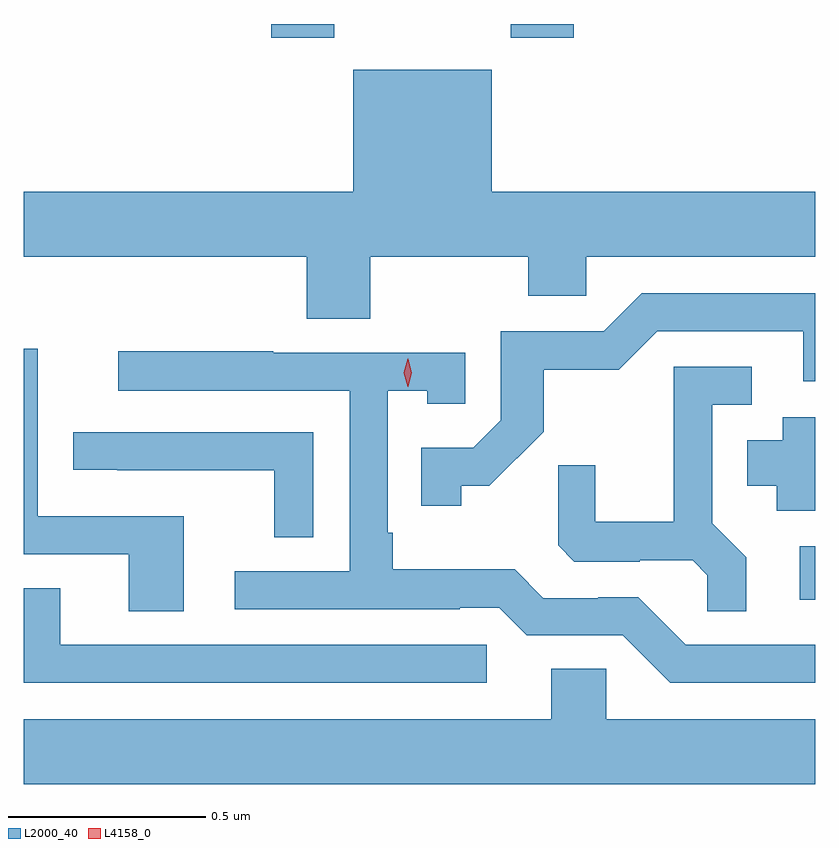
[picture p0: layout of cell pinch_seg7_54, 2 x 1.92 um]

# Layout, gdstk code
import gdstk
lib = gdstk.Library(unit=1e-6, precision=1e-09)
def R(c, l, rs):  # rectangles x0, y0, x1, y1
    for r in rs: c.add(gdstk.rectangle(r[:2], r[2:], *l))
def P(c, l, *ps):  # polygons
    for p in ps: c.add(gdstk.Polygon(p, *l))
L2000_40 = (2000, 40)
L4158_0 = (4158, 0)

pinch_seg7_54 = lib.new_cell('pinch_seg7_54')
R(pinch_seg7_54, L2000_40, [(901.977,1042.373,902.016,1042.509), (900.641,1043.793,900.801,1043.828), (901.246,1043.793,901.406,1043.828)])
P(pinch_seg7_54, L2000_40, [(900.891,1043.24),(901.291,1043.24),(901.291,1043.142),(901.437,1043.142),(901.437,1043.24),(902.016,1043.24),(902.016,1043.404),(901.198,1043.404),(901.198,1043.713),(900.848,1043.713),(900.848,1043.404),(900.016,1043.404),(900.016,1043.24),(900.731,1043.24),(900.731,1043.083),(900.891,1043.083)],
  [(901.122,1042.661),(901.192,1042.661),(901.33,1042.798),(901.33,1042.954),(901.519,1042.954),(901.617,1043.052),(901.985,1043.052),(901.985,1042.926),(902.016,1042.926),(902.016,1043.148),(901.578,1043.148),(901.482,1043.052),(901.221,1043.052),(901.221,1042.827),(901.152,1042.758),(901.021,1042.758),(901.021,1042.611),(901.122,1042.611)],
  [(900.421,1042.584),(900.051,1042.584),(900.051,1043.007),(900.016,1043.007),(900.016,1042.488),(900.281,1042.488),(900.281,1042.345),(900.421,1042.345)],
  [(902.016,1042.26),(901.689,1042.26),(901.569,1042.38),(901.468,1042.38),(901.468,1042.377),(901.329,1042.377),(901.256,1042.45),(900.949,1042.45),(900.949,1042.543),(900.936,1042.543),(900.936,1042.901),(901.035,1042.901),(901.035,1042.869),(901.131,1042.869),(901.131,1042.998),(900.647,1042.998),(900.647,1043.001),(900.255,1043.001),(900.255,1042.902),(900.84,1042.902),(900.84,1042.446),(900.549,1042.446),(900.549,1042.35),(901.118,1042.35),(901.118,1042.353),(901.218,1042.353),(901.287,1042.284),(901.53,1042.284),(901.65,1042.164),(902.016,1042.164)],
  [(901.841,1042.481),(901.755,1042.567),(901.755,1042.866),(901.855,1042.866),(901.855,1042.962),(901.658,1042.962),(901.658,1042.57),(901.46,1042.57),(901.46,1042.713),(901.366,1042.713),(901.366,1042.511),(901.407,1042.47),(901.572,1042.47),(901.572,1042.473),(901.706,1042.473),(901.743,1042.436),(901.743,1042.345),(901.841,1042.345)],
  [(902.016,1042.834),(901.934,1042.834),(901.934,1042.777),(901.844,1042.777),(901.844,1042.661),(901.919,1042.661),(901.919,1042.598),(902.016,1042.598)],
  [(900.747,1042.797),(900.141,1042.797),(900.141,1042.702),(900.253,1042.702),(900.253,1042.701),(900.649,1042.701),(900.649,1042.531),(900.747,1042.531)],
  [(901.186,1042.26),(900.109,1042.26),(900.109,1042.403),(900.016,1042.403),(900.016,1042.164),(901.186,1042.164)],
  [(902.016,1042.072),(901.488,1042.072),(901.488,1042.199),(901.349,1042.199),(901.349,1042.072),(900.016,1042.072),(900.016,1041.908),(902.016,1041.908)])
P(pinch_seg7_54, L4158_0, [(900.986,1042.911),(900.986,1042.911),(900.976,1042.947),(900.986,1042.982),(900.986,1042.982),(900.987,1042.982),(900.996,1042.947),(900.987,1042.911)])

lib.write_gds('pinch_seg7_54.gds')
